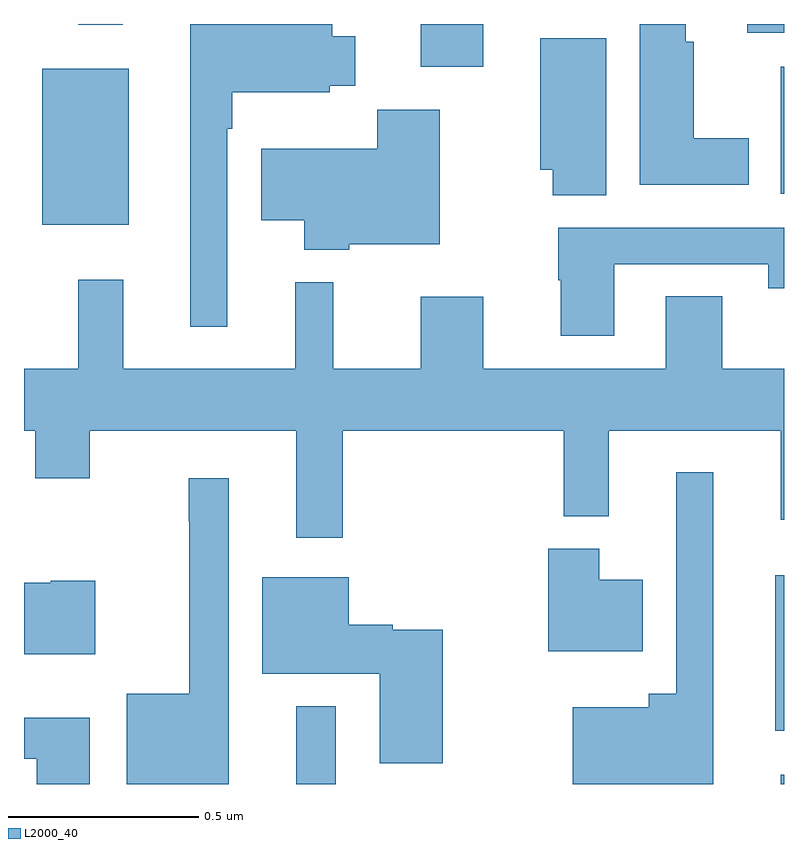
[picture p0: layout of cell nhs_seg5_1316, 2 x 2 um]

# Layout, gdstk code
import gdstk
lib = gdstk.Library(unit=1e-6, precision=1e-09)
def R(c, l, rs):  # rectangles x0, y0, x1, y1
    for r in rs: c.add(gdstk.rectangle(r[:2], r[2:], *l))
def P(c, l, *ps):  # polygons
    for p in ps: c.add(gdstk.Polygon(p, *l))
L2000_40 = (2000, 40)

nhs_seg5_1316 = lib.new_cell('nhs_seg5_1316')
R(nhs_seg5_1316, L2000_40, [(128.717,887.799,128.821,888.004), (129.992,887.799,130,887.824), (129.977,887.939,130,888.349), (128.048,889.271,128.275,889.681), (129.992,889.352,130,889.687), (129.044,889.686,129.208,889.799), (129.903,889.776,130,889.799), (128.143,889.797,128.26,889.799)])
P(nhs_seg5_1316, L2000_40, [(128.535,889.523),(128.548,889.523),(128.548,889.619),(128.805,889.619),(128.805,889.637),(128.872,889.637),(128.872,889.767),(128.811,889.767),(128.811,889.799),(128.438,889.799),(128.438,889.002),(128.535,889.002)],
  [(129.907,889.498),(129.763,889.498),(129.763,889.752),(129.742,889.752),(129.742,889.799),(129.62,889.799),(129.62,889.376),(129.907,889.376)],
  [(129.532,889.762),(129.359,889.762),(129.359,889.415),(129.391,889.415),(129.391,889.348),(129.532,889.348)],
  [(128.856,889.22),(129.094,889.22),(129.094,889.573),(128.929,889.573),(128.929,889.471),(128.624,889.471),(128.624,889.283),(128.738,889.283),(128.738,889.205),(128.856,889.205)],
  [(129.553,889.167),(129.958,889.167),(129.958,889.104),(130,889.104),(130,889.263),(129.406,889.263),(129.406,889.125),(129.413,889.125),(129.413,888.978),(129.553,888.978)],
  [(128.839,888.728),(129.421,888.728),(129.421,888.503),(129.539,888.503),(129.539,888.728),(129.992,888.728),(129.992,888.495),(130,888.495),(130,888.892),(129.837,888.892),(129.837,889.082),(129.689,889.082),(129.689,888.892),(129.208,888.892),(129.208,889.081),(129.044,889.081),(129.044,888.892),(128.814,888.892),(128.814,889.12),(128.714,889.12),(128.714,888.892),(128.261,888.892),(128.261,889.126),(128.143,889.126),(128.143,888.892),(128,888.892),(128,888.728),(128.029,888.728),(128.029,888.604),(128.173,888.604),(128.173,888.728),(128.717,888.728),(128.717,888.447),(128.839,888.447)],
  [(129.814,888.619),(129.717,888.619),(129.717,888.037),(129.644,888.037),(129.644,888.001),(129.444,888.001),(129.444,887.799),(129.814,887.799)],
  [(128.539,888.604),(128.433,888.604),(128.433,888.491),(128.435,888.491),(128.435,888.037),(128.27,888.037),(128.27,887.799),(128.539,887.799)],
  [(129.628,888.337),(129.514,888.337),(129.514,888.418),(129.38,888.418),(129.38,888.149),(129.628,888.149)],
  [(129.102,888.205),(128.97,888.205),(128.97,888.218),(128.854,888.218),(128.854,888.343),(128.627,888.343),(128.627,888.089),(128.936,888.089),(128.936,887.853),(129.102,887.853)],
  [(128.188,888.334),(128.07,888.334),(128.07,888.328),(128,888.328),(128,888.14),(128.188,888.14)],
  [(128.173,887.974),(128,887.974),(128,887.865),(128.033,887.865),(128.033,887.799),(128.173,887.799)])

lib.write_gds('nhs_seg5_1316.gds')
